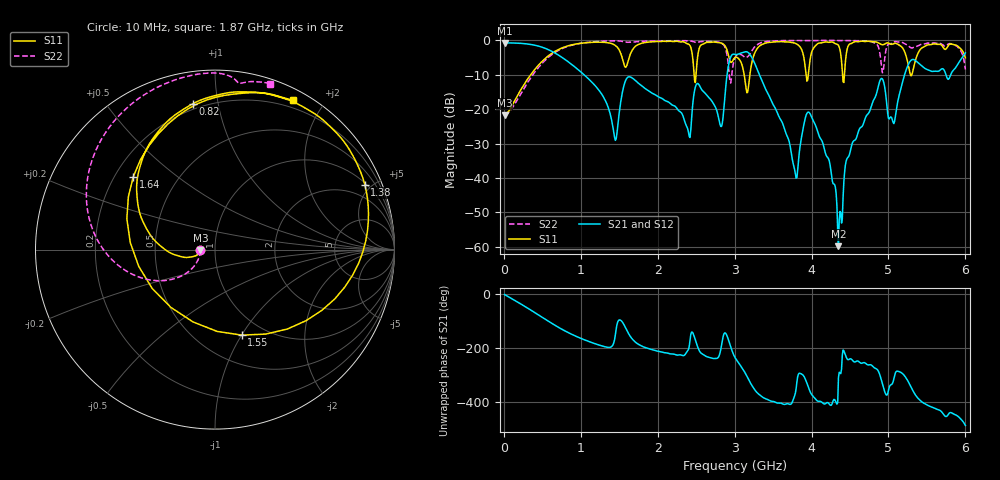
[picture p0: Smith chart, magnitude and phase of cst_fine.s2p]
! G_pp100: Plane pair 50 × 30 mm, d = 0.1 mm, ports at a corner and the centre
! stackup: plane pair, 0.1 mm FR-4
! ports: 1 corner, 2 centre
! CST Studio Suite 2025.5 Release from 2025-05-30, time domain (FIT, hexahedral, PBA), 111860 mesh cells, 105 s
! mesh: {'lpw': 30.0, 'lpb': 30.0, 'minstep': 0.0, 'ratio': 20}; ports: port 1 (edge); port 2 (edge)
! interpolated from CST's 1001 samples to the case grid
# Hz S RI R 1
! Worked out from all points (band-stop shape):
!   600 points, 10 MHz to 6 GHz, reference 1 ohm
!   highest |S21| = -0.74 dB at 10 MHz (marker M1); lowest = -59.8 dB at 4.35 GHz (marker M2)
!   |S21| within 3 dB of the highest: start of sweep to 668.4 MHz; 3.078 GHz to 3.185 GHz (107.6 MHz wide, 3.44 % of centre)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
!   lowest |S11| = -21.8 dB at 10 MHz (marker M3), VSWR 1.18, Z = 0.849 - j0.0068 ohm
!   |S11| at or under -10 dB: start of sweep to 349.9 MHz; 3.124 GHz to 3.199 GHz (74.79 MHz wide, 2.37 % of centre); 3.929 GHz to 3.957 GHz (28.6 MHz wide, 0.725 % of centre)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
!   |S22| runs from -21.7 to 0.0 dB; largest |S21 - S12| = 0.0021
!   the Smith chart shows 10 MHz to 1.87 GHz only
!   S11 on the Smith chart (normalised r, x): 10 MHz: 0.85, -0.01; 820 MHz: 0.17, +0.84; 1.38 GHz: 1.09, +4.58; 1.55 GHz: 0.79, -1.00; 1.64 GHz: 0.28, +0.36; 1.87 GHz: 0.12, +1.64
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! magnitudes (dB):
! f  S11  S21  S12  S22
! 10 MHz  -21.8  -0.7  -0.7  -21.7
! 820 MHz  -1.7  -6.0  -6.0  -1.9
! 1.01 GHz  -0.8  -9.4  -9.4  -0.8
! 1.38 GHz  -0.8  -21.2  -21.2  -0.2
! 1.46 GHz  -1.7  -28.6  -28.6  -0.1
! 1.55 GHz  -6.0  -14.2  -14.2  -0.4
! 1.64 GHz  -4.3  -10.6  -10.6  -0.6
! 1.87 GHz  -0.6  -14.5  -14.5  -0.2
! 2.01 GHz  -0.4  -16.4  -16.4  -0.2
! 2.53 GHz  -3.2  -12.7  -12.7  -0.5
! 2.82 GHz  -0.8  -25.0  -24.9  -0.8
! 3.01 GHz  -4.9  -4.1  -4.1  -4.9
! 3.16 GHz  -15.2  -3.4  -3.4  -4.9
! 3.32 GHz  -1.7  -9.9  -9.9  -0.9
! 3.79 GHz  -0.9  -38.8  -38.8  -0.1
! 4.01 GHz  -2.9  -22.8  -22.8  -0.1
! 4.35 GHz  -1.5  -59.8  -60.7  -0.1
! 4.47 GHz  -2.0  -34.1  -34.0  -0.1
! 4.89 GHz  -1.0  -11.7  -11.7  -4.0
! 5.01 GHz  -0.9  -22.8  -22.8  -1.0
! 5.3 GHz  -10.2  -5.7  -5.7  -2.2
! 6 GHz  -5.1  -3.7  -3.7  -8.5
